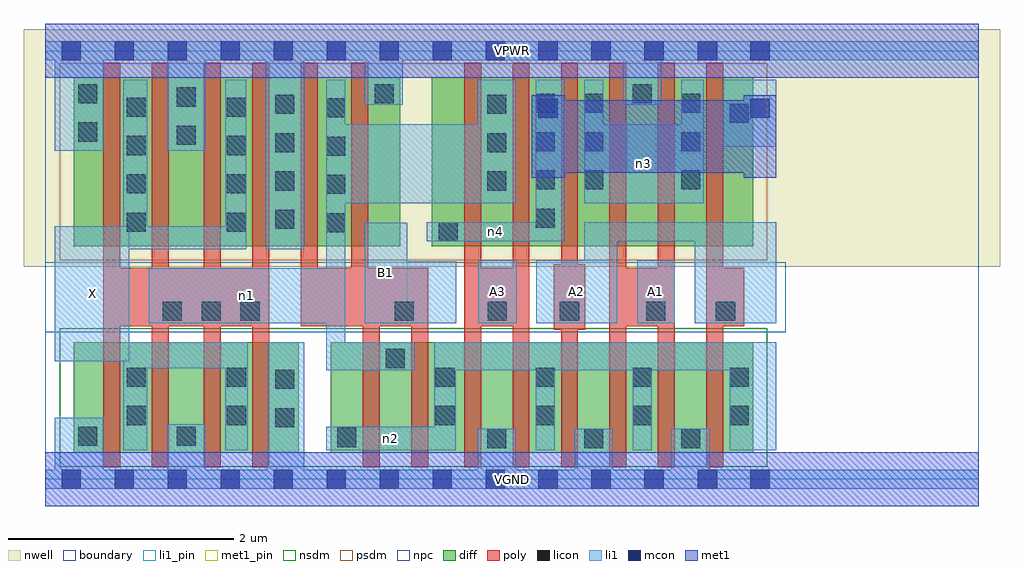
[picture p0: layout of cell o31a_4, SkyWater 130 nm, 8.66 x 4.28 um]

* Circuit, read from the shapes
.subckt o31a_4 A1 A2 A3 B1 VGND VPWR X n1 n2 n3 n4
XM1 X n1 VGND VSUBS sky130_fd_pr__nfet_01v8 w=0.98 l=0.15 m=4
XM2 n1 B1 n2 VSUBS sky130_fd_pr__nfet_01v8 w=0.98 l=0.15 m=2
XM3 VGND A3 n2 VSUBS sky130_fd_pr__nfet_01v8 w=0.98 l=0.15 m=2
XM4 VGND A2 n2 VSUBS sky130_fd_pr__nfet_01v8 w=0.98 l=0.15 m=2
XM5 n2 A1 VGND VSUBS sky130_fd_pr__nfet_01v8 w=0.98 l=0.15 m=2
XM6 X n1 VPWR n5 sky130_fd_pr__pfet_01v8 w=1.5 l=0.15 m=4
XM7 n1 B1 VPWR n5 sky130_fd_pr__pfet_01v8 w=1.5 l=0.15 m=2
XM8 n1 A3 n4 n5 sky130_fd_pr__pfet_01v8 w=1.5 l=0.15 m=2
XM9 n3 A2 n4 n5 sky130_fd_pr__pfet_01v8 w=1.5 l=0.15 m=2
XM10 VPWR A1 n3 n5 sky130_fd_pr__pfet_01v8 w=1.5 l=0.15 m=2
.ends

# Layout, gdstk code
import gdstk
lib = gdstk.Library(unit=1e-6, precision=1e-09)
def R(c, l, rs):  # rectangles x0, y0, x1, y1
    for r in rs: c.add(gdstk.rectangle(r[:2], r[2:], *l))
def A(c, l, x, y, w, h, nx, ny, dx, dy):  # array of equal rectangles
    R(c, l, [(x+i*dx, y+j*dy, x+i*dx+w, y+j*dy+h) for i in range(nx) for j in range(ny)])
nwell = (64, 20)
diff = (65, 20)
poly = (66, 20)
licon = (66, 44)
li1_pin = (67, 16)
li1 = (67, 20)
mcon = (67, 44)
met1_pin = (68, 16)
met1 = (68, 20)
nsdm = (93, 44)
psdm = (94, 20)
npc = (95, 20)
boundary = (235, 4)

o31a_4 = lib.new_cell('o31a_4')
R(o31a_4, nwell, [(-0.19,1.885,8.47,3.99), (0,1.885,8.28,3.99)])
R(o31a_4, diff, [(0.25,0.235,2.25,1.215), (2.53,0.235,6.28,1.215), (0.25,2.065,3.15,3.565), (3.43,2.065,6.28,3.565)])
A(o31a_4, poly, 3.715, 0.105, 0.15, 3.59, 6, 1, 0.43, 0)
R(o31a_4, poly, [(0.515,0.105,0.665,3.695), (0.945,0.105,1.095,3.695), (1.405,0.105,1.555,3.695), (1.835,0.105,1.985,3.695), (2.815,0.105,2.965,1.875), (3.245,0.105,3.395,1.875), (4.51,1.325,4.79,1.905), (0.515,1.355,1.985,1.875), (2.265,1.355,3.395,1.875), (2.265,1.355,2.415,3.695), (2.715,1.355,2.865,3.695), (3.715,1.355,4.295,1.875), (5.005,1.355,5.585,1.875), (5.865,1.355,6.2,1.875)])
A(o31a_4, licon, 3.92, 0.275, 0.17, 0.17, 3, 1, 0.86, 0)
A(o31a_4, licon, 4.35, 0.48, 0.17, 0.17, 3, 2, 0.86, 0.34)
A(o31a_4, licon, 1.04, 1.405, 0.17, 0.17, 3, 1, 0.345, 0)
A(o31a_4, licon, 2.49, 2.19, 0.17, 0.17, 1, 4, 0, 0.34)
A(o31a_4, licon, 0.72, 2.195, 0.17, 0.17, 1, 4, 0, 0.34)
A(o31a_4, licon, 1.61, 2.195, 0.17, 0.17, 1, 4, 0, 0.34)
A(o31a_4, licon, 2.04, 2.22, 0.17, 0.17, 1, 4, 0, 0.34)
A(o31a_4, licon, 4.35, 2.23, 0.17, 0.17, 1, 4, 0, 0.34)
A(o31a_4, licon, 3.92, 2.56, 0.17, 0.17, 1, 3, 0, 0.34)
A(o31a_4, licon, 4.78, 2.57, 0.17, 0.17, 1, 3, 0, 0.34)
A(o31a_4, licon, 5.64, 2.57, 0.17, 0.17, 1, 3, 0, 0.34)
R(o31a_4, licon, [(2.59,0.285,2.76,0.455), (0.29,0.295,0.46,0.465), (1.165,0.295,1.335,0.465), (2.04,0.46,2.21,0.63), (0.72,0.48,0.89,0.65), (1.61,0.48,1.78,0.65), (3.46,0.48,3.63,0.65), (2.04,0.8,2.21,0.97), (0.72,0.82,0.89,0.99), (1.61,0.82,1.78,0.99), (3.46,0.82,3.63,0.99), (3.02,0.985,3.19,1.155), (3.1,1.405,3.27,1.575), (3.925,1.405,4.095,1.575), (4.565,1.405,4.735,1.575), (5.33,1.405,5.5,1.575), (5.95,1.405,6.12,1.575), (3.49,2.11,3.66,2.28), (1.165,2.965,1.335,3.135), (0.29,2.995,0.46,3.165), (6.07,3.16,6.24,3.33), (1.165,3.305,1.335,3.475), (0.29,3.335,0.46,3.505), (2.92,3.335,3.09,3.505), (5.21,3.335,5.38,3.505)])
R(o31a_4, li1_pin, [(0.085,1.045,0.745,2.245), (2.835,1.385,3.21,2.275), (3.84,1.385,4.18,1.94), (4.355,1.385,5.075,1.94), (5.25,1.385,5.585,1.94)])
A(o31a_4, li1, 3.835, -0.085, 0.34, 0.53, 3, 1, 0.86, 0)
R(o31a_4, li1, [(0,-0.085,8.28,0.085), (0.085,-0.085,0.515,0.545), (1.08,-0.085,1.42,0.485), (1.97,-0.085,2.295,1.215), (0.69,0.255,0.905,1.215), (1.595,0.255,1.795,1.215), (2.49,0.255,3.64,0.465), (3.45,0.255,3.64,1.215), (4.35,0.255,4.52,1.215), (5.21,0.255,5.38,1.215), (6.07,0.255,6.485,1.215), (2.49,0.965,2.66,3.545), (2.49,0.965,3.275,1.215), (3.45,0.965,6.485,1.215), (0.69,0.985,1.795,1.215), (0.085,1.045,0.745,2.245), (0.915,1.385,2.66,1.87), (2.835,1.385,3.645,1.935), (2.835,1.385,3.21,2.275), (3.84,1.385,4.18,1.94), (4.355,1.385,5.075,1.94), (4.78,1.385,5.075,2.28), (5.25,1.385,5.585,1.94), (5.76,1.385,6.485,2.28), (0.085,2.04,1.78,2.245), (0.69,2.04,0.905,3.545), (1.595,2.04,1.78,3.545), (1.955,2.04,2.295,3.885), (3.385,2.11,4.605,2.28), (4.35,2.11,4.605,3.545), (4.78,2.11,6.485,2.28), (2.49,2.45,4.175,3.15), (3.835,2.45,4.175,3.545), (4.78,2.45,5.84,3.15), (4.78,2.45,4.95,3.545), (5.64,2.45,5.84,3.545), (0.085,2.915,0.515,3.885), (1.08,2.915,1.42,3.885), (6.015,2.95,6.485,3.545), (2.835,3.32,3.17,3.885), (5.125,3.32,5.465,3.885), (0,3.715,8.28,3.885)])
A(o31a_4, mcon, 0.145, -0.085, 0.17, 0.17, 12, 2, 0.47, 3.8)
R(o31a_4, mcon, [(5.79,-0.085,5.96,0.085), (6.255,-0.085,6.425,0.085), (4.375,3.205,4.545,3.375), (6.255,3.205,6.425,3.375), (5.79,3.715,5.96,3.885), (6.255,3.715,6.425,3.885)])
R(o31a_4, met1_pin, [(0,-0.24,8.28,0.24), (0,3.56,8.28,4.04)])
R(o31a_4, met1, [(0,-0.24,8.28,0.24), (4.315,2.675,4.61,3.405), (6.195,2.675,6.485,3.405), (4.315,2.72,6.485,3.36), (0,3.56,8.28,4.04)])
R(o31a_4, nsdm, [(0.125,0.11,6.405,1.34)])
R(o31a_4, psdm, [(0.125,1.94,6.405,3.69)])
R(o31a_4, npc, [(0,1.305,6.57,1.925)])
R(o31a_4, boundary, [(0,0,8.28,3.8)])
o31a_4.add(gdstk.Label('A1', (5.417,1.662), layer=67, texttype=5))
o31a_4.add(gdstk.Label('A2', (4.715,1.662), layer=67, texttype=5))
o31a_4.add(gdstk.Label('A3', (4.01,1.662), layer=67, texttype=5))
o31a_4.add(gdstk.Label('B1', (3.022,1.83), layer=67, texttype=5))
o31a_4.add(gdstk.Label('X', (0.415,1.645), layer=67, texttype=5))
o31a_4.add(gdstk.Label('n2', (3.065,0.36), layer=67, texttype=5))
o31a_4.add(gdstk.Label('n1', (1.787,1.627), layer=67, texttype=5))
o31a_4.add(gdstk.Label('n4', (3.995,2.195), layer=67, texttype=5))
o31a_4.add(gdstk.Label('n3', (5.31,2.8), layer=67, texttype=5))
o31a_4.add(gdstk.Label('VPWR', (4.14,3.8), layer=68, texttype=5))
o31a_4.add(gdstk.Label('VGND', (4.14,0), layer=68, texttype=5))
o31a_4.add(gdstk.Label('A1', (5.417,1.662), layer=67, texttype=16))
o31a_4.add(gdstk.Label('A2', (4.715,1.662), layer=67, texttype=16))
o31a_4.add(gdstk.Label('A3', (4.01,1.662), layer=67, texttype=16))
o31a_4.add(gdstk.Label('B1', (3.022,1.83), layer=67, texttype=16))
o31a_4.add(gdstk.Label('X', (0.415,1.645), layer=67, texttype=16))
o31a_4.add(gdstk.Label('VPWR', (4.14,3.8), layer=68, texttype=16))
o31a_4.add(gdstk.Label('VGND', (4.14,0), layer=68, texttype=16))

lib.write_gds('o31a_4.gds')
